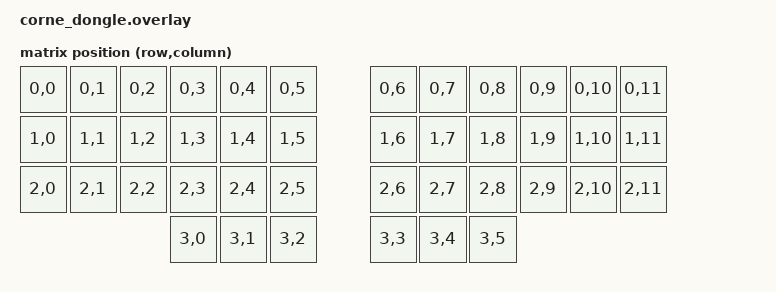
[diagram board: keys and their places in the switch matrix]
#include <dt-bindings/zmk/matrix_transform.h>

/ {
    esb_split {
        compatible = "zmk,esb-split";
        // /bits/ 8 tells DTS to store these as 1-byte elements
        base-addr-0 = /bits/ 8 <0xE7 0xE7 0xE7 0xE7 0xE7 0xE7 0xE7 0xE7>;
        base-addr-1 = /bits/ 8 <0xC2 0xC2 0xC2 0xC2 0xC2 0xC2 0xC2 0xC2>;
        addr-prefix = /bits/ 8 <0xE7 0xC2 0xC3 0xC4>;
    };

    chosen {
        zmk,kscan = &mock_kscan;
        zmk,matrix_transform = &default_transform;
    };

    default_transform: matrix_transform {
        compatible = "zmk,matrix-transform";
        columns = <12>;
        rows = <4>;
        map = <
RC(0,0) RC(0,1) RC(0,2) RC(0,3) RC(0,4) RC(0,5)  RC(0,6) RC(0,7) RC(0,8) RC(0,9) RC(0,10) RC(0,11)
RC(1,0) RC(1,1) RC(1,2) RC(1,3) RC(1,4) RC(1,5)  RC(1,6) RC(1,7) RC(1,8) RC(1,9) RC(1,10) RC(1,11)
RC(2,0) RC(2,1) RC(2,2) RC(2,3) RC(2,4) RC(2,5)  RC(2,6) RC(2,7) RC(2,8) RC(2,9) RC(2,10) RC(2,11)
                        RC(3,0) RC(3,1) RC(3,2)  RC(3,3) RC(3,4) RC(3,5)
        >;
    };

    mock_kscan: kscan {
        compatible = "zmk,kscan-none";
        columns = <12>;
        rows = <4>;
        events = <0>;
    };
};
